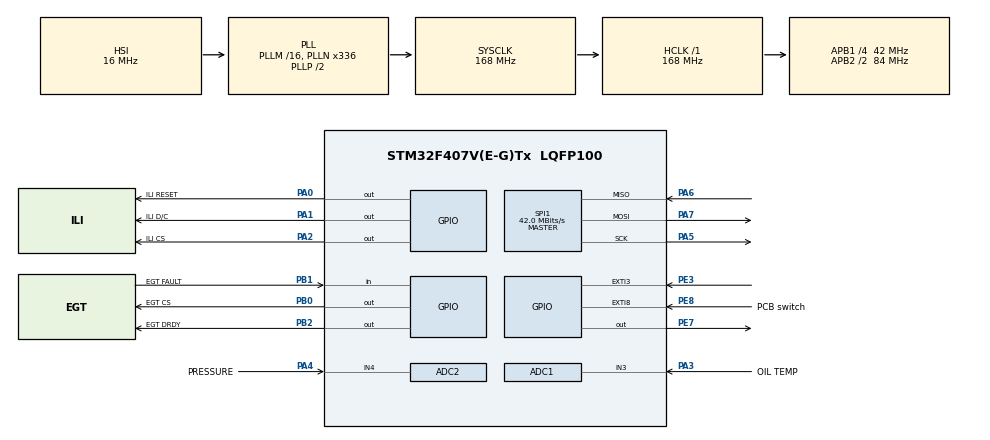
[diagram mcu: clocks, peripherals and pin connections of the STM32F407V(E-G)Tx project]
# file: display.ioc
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ADC1.Channel-0\#ChannelRegularConversion=ADC_CHANNEL_3
ADC1.ClockPrescaler=ADC_CLOCK_SYNC_PCLK_DIV4
ADC1.NbrOfConversionFlag=1
ADC1.Rank-0\#ChannelRegularConversion=1
ADC1.SamplingTime-0\#ChannelRegularConversion=ADC_SAMPLETIME_3CYCLES
ADC1.master=1
ADC2.Channel-0\#ChannelRegularConversion=ADC_CHANNEL_4
ADC2.ClockPrescaler=ADC_CLOCK_SYNC_PCLK_DIV4
ADC2.NbrOfConversionFlag=1
ADC2.Rank-0\#ChannelRegularConversion=1
ADC2.SamplingTime-0\#ChannelRegularConversion=ADC_SAMPLETIME_3CYCLES
Mcu.Family=STM32F4
Mcu.Name=STM32F407V(E-G)Tx
Mcu.Package=LQFP100
NVIC.EXTI3_IRQn=true\:0\:0\:false\:false\:true\:true\:true\:true
NVIC.EXTI9_5_IRQn=true\:0\:0\:false\:false\:true\:true\:true\:true
NVIC.PriorityGroup=NVIC_PRIORITYGROUP_4
PA0-WKUP.GPIO_Label=ILI RESET
PA0-WKUP.GPIO_Speed=GPIO_SPEED_FREQ_VERY_HIGH
PA0-WKUP.Signal=GPIO_Output
PA1.GPIO_Label=ILI D/C
PA1.GPIO_Speed=GPIO_SPEED_FREQ_VERY_HIGH
PA1.Signal=GPIO_Output
PA13.Mode=Serial_Wire
PA13.Signal=SYS_JTMS-SWDIO
PA14.Mode=Serial_Wire
PA14.Signal=SYS_JTCK-SWCLK
PA2.GPIO_Label=ILI CS
PA2.GPIO_Speed=GPIO_SPEED_FREQ_VERY_HIGH
PA2.Signal=GPIO_Output
PA3.GPIO_Label=OIL TEMP
PA3.Signal=ADCx_IN3
PA4.GPIO_Label=PRESSURE
PA4.Signal=ADCx_IN4
PA5.Mode=Full_Duplex_Master
PA5.Signal=SPI1_SCK
PA6.Mode=Full_Duplex_Master
PA6.Signal=SPI1_MISO
PA7.Mode=Full_Duplex_Master
PA7.Signal=SPI1_MOSI
PB0.GPIO_Label=EGT CS
PB0.GPIO_Speed=GPIO_SPEED_FREQ_HIGH
PB0.Signal=GPIO_Output
PB1.GPIO_Label=EGT FAULT
PB1.Signal=GPIO_Input
PB2.GPIO_Label=EGT DRDY
PB2.Signal=GPIO_Output
PE3.GPIO_ModeDefaultEXTI=GPIO_MODE_IT_FALLING
PE3.Signal=GPXTI3
PE7.Signal=GPIO_Output
PE8.GPIO_Label=PCB switch
PE8.GPIO_ModeDefaultEXTI=GPIO_MODE_IT_FALLING
PE8.Signal=GPXTI8
ProjectManager.HeapSize=0x200
ProjectManager.StackSize=0x400
ProjectManager.TargetToolchain=STM32CubeIDE
RCC.48MHZClocksFreq_Value=48000000
RCC.AHBFreq_Value=168000000
RCC.APB1CLKDivider=RCC_HCLK_DIV4
RCC.APB1Freq_Value=42000000
RCC.APB1TimFreq_Value=84000000
RCC.APB2CLKDivider=RCC_HCLK_DIV2
RCC.APB2Freq_Value=84000000
RCC.APB2TimFreq_Value=168000000
RCC.CortexFreq_Value=168000000
RCC.HCLKFreq_Value=168000000
RCC.HSE_VALUE=25000000
RCC.HSI_VALUE=16000000
RCC.LSE_VALUE=32768
RCC.PLLN=336
RCC.PLLQ=7
RCC.SYSCLKFreq_VALUE=168000000
RCC.SYSCLKSource=RCC_SYSCLKSOURCE_PLLCLK
RCC.VCOOutputFreq_Value=336000000
SH.ADCx_IN3.0=ADC1_IN3,IN3
SH.ADCx_IN4.0=ADC2_IN4,IN4
SPI1.BaudRatePrescaler=SPI_BAUDRATEPRESCALER_2
SPI1.CalculateBaudRate=42.0 MBits/s
SPI1.Direction=SPI_DIRECTION_2LINES
SPI1.Mode=SPI_MODE_MASTER
SPI1.VirtualType=VM_MASTER
board=custom

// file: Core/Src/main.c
/* USER CODE BEGIN Header */
/**
  ******************************************************************************
  * @file           : main.c
  * @brief          : Main program body
  ******************************************************************************
  * @attention
  *
  * Copyright (c) 2025 STMicroelectronics.
  * All rights reserved.
  *
  * This software is licensed under terms that can be found in the LICENSE file
  * in the root directory of this software component.
  * If no LICENSE file comes with this software, it is provided AS-IS.
  *
  ******************************************************************************
  */
/* USER CODE END Header */
#include "main.h"

/* USER CODE BEGIN Includes */
#include <string.h>
#include "GC9A01.h"
#include "lvgl.h"
#include "MAX31856.h"
/* USER CODE END Includes */

/* USER CODE BEGIN PTD */
float oilTemp, oilPress, egtTemp;
lv_obj_t *cont_multi;
lv_obj_t *cont_single;
volatile static DisplayState display_state = MULTI;
static DisplayState prev_state = -1;

volatile uint32_t debounce_tick = 0;

int _write(int file, char *ptr, int len)
{
    (void)file;
    for (int i = 0; i < len; i++) {
        ITM_SendChar((uint32_t)*ptr++);
    }
    return len;
}

static const TempPoint tempTable[] = {
    {20.0f, 2031.0f},
    {30.0f, 1286.0f},
    {40.0f, 843.9f},
    {50.0f, 569.9f},
    {60.0f, 388.0f},
    {70.0f, 277.8f},
    {80.0f, 200.0f},
    {90.0f, 146.7f},
    {100.0f, 108.0f},
    {110.0f, 82.7f},
    {120.0f, 63.5f},
    {130.0f, 49.3f},
    {140.0f, 38.9f},
    {150.0f, 30.4f},
    {160.0f, 24.4f},
    {170.0f, 19.8f},
};
static QuadGauge g_egt, g_oilT, g_oilP,g_single;
QuadGauge* g_curr = &g_oilP; // pointer to currently displayed gauge in single mode

static void ShowSingleGauge(QuadGauge *g);
static void Gauge_Switch(void);
/**
 *
 * @param min Value which arc is empty
 * @param max Value at which arc is full
 * @param title_dx Title x coordinate
 * @param title_dy Title y coordinate
 * @param value_dx Value x coordinate
 * @param value_dy value y coordinate
 */
static void Create_Gauge(lv_obj_t *parent, QuadGauge *g,
                          const char *title, lv_color_t color,
                          int32_t min, int32_t max,
                          uint16_t start_deg, uint16_t end_deg,
                          lv_coord_t title_dx, lv_coord_t title_dy,
                          lv_coord_t value_dx, lv_coord_t value_dy);
static void Gauge_Update(QuadGauge *g, float val, int32_t arc_val, const char *fmt, const char *title);

uint16_t ADC_ReadRaw(ADC_HandleTypeDef* hadc)
{
    HAL_ADC_Start(hadc);
    HAL_ADC_PollForConversion(hadc, HAL_MAX_DELAY);
    uint16_t value = HAL_ADC_GetValue(hadc);
    HAL_ADC_Stop(hadc);
    return value;  // 0..4095 for 12-bit
}

uint16_t ADC_ReadAvg(uint8_t samples,ADC_HandleTypeDef* hadc)
{
    uint32_t sum = 0;
    for (uint8_t i = 0; i < samples; i++) {
        sum += ADC_ReadRaw(hadc);
    }
    return (uint16_t)(sum / samples);
}

float ADC_To_Temperature(uint16_t adc)
{
	float Rs;
	if (adc==0){Rs = 1e9f;}
	Rs = 330.0f * ((4095.0f/(float)adc)-1.0f);      //4095 == 3.3v, Rs = (Vcc/Vout - 1)*Rref, Rref=330Ω
    int size = sizeof(tempTable)/sizeof(tempTable[0]);

    // Too cold (Rs higher than highest table value)
    if (Rs >= tempTable[0].resOhm)
        return tempTable[0].tempC;

    // Too hot (Rs lower than lowest table value)
    if (Rs <= tempTable[size - 1].resOhm)
        return tempTable[size - 1].tempC;

    // Find interval
    for (int i = 0; i < size - 1; i++) {
        float R1 = tempTable[i].resOhm;
        float R2 = tempTable[i+1].resOhm;
        if (Rs <= R1 && Rs >= R2) {
            float T1 = tempTable[i].tempC;
            float T2 = tempTable[i+1].tempC;

            float f = (Rs - R1) / (R2 - R1);   // linear interpolation
            return T1 + f * (T2 - T1);
        }
    }

    return -273.15f; // shouldn't happen
}

float ADC_ToBar(uint16_t adcv)
{
	float vsens = (3.3f * (float)adcv / 4095.0f)*1.5f; //0-3.3V becomes 0-4.95V, sensor output is 0.5..4.5V for 0..150psi, so multiply by 1.5 to scale 3.3V to 4.95V
    if (vsens < SENSOR_V_MIN) vsens = SENSOR_V_MIN;
    if (vsens > SENSOR_V_MAX) vsens = SENSOR_V_MAX;

    float fraction = (vsens - SENSOR_V_MIN) / (SENSOR_V_MAX - SENSOR_V_MIN);
    return fraction * PRESSURE_MAX_PSI * 0.0689476f;  // convert psi to bar (1 psi = 0.0689476 bar)
}

/* USER CODE END PTD */

/* USER CODE BEGIN PD */
#define DEBOUNCE_DELAY 50
/* USER CODE END PD */

ADC_HandleTypeDef hadc1;
ADC_HandleTypeDef hadc2;

SPI_HandleTypeDef hspi1;

void SystemClock_Config(void);
static void MX_GPIO_Init(void);
static void MX_SPI1_Init(void);
static void MX_ADC1_Init(void);
static void MX_ADC2_Init(void);

int main(void)
{

  /* USER CODE BEGIN 1 */
	  printf("Booting...\n");
  /* USER CODE END 1 */

  /* MCU Configuration--------------------------------------------------------*/

  /* Reset of all peripherals, Initializes the Flash interface and the Systick. */
  HAL_Init();

  /* Configure the system clock */
  SystemClock_Config();

  /* Initialize all configured peripherals */
  MX_GPIO_Init();
  MX_SPI1_Init();
  MX_ADC1_Init();
  MX_ADC2_Init();
  /* USER CODE BEGIN 2 */
  GC9A01_Init();

  lv_init();
  static uint16_t buf1[240 * 40];   // line buffer for 240px wide round display

  lv_display_t *disp = lv_display_create(240, 240);
  lv_display_set_flush_cb(disp, ILI_flush);
  lv_display_set_buffers(disp, buf1, NULL, sizeof(buf1),
                           LV_DISPLAY_RENDER_MODE_PARTIAL);
  lv_display_set_color_format(disp, LV_COLOR_FORMAT_RGB565_SWAPPED);

  lv_display_set_rotation(disp, LV_DISPLAY_ROTATION_180);

  lv_obj_t *scr = lv_display_get_screen_active(disp);
  lv_obj_set_style_bg_color(scr, lv_color_black(), 0);
  lv_obj_set_style_bg_opa(scr, LV_OPA_COVER, 0);
  cont_multi  = lv_obj_create(scr);
  cont_single = lv_obj_create(scr);
  lv_obj_remove_style_all(cont_multi);
  lv_obj_remove_style_all(cont_single);
  lv_obj_set_size(cont_multi,  LV_HOR_RES_MAX, LV_VER_RES_MAX);
  lv_obj_set_size(cont_single, LV_HOR_RES_MAX, LV_VER_RES_MAX);
  lv_obj_set_pos(cont_multi,  0, 0);
  lv_obj_set_pos(cont_single, 0, 0);
  lv_obj_add_flag(cont_single, LV_OBJ_FLAG_HIDDEN);  // hide at startup

  Create_Gauge(cont_multi, &g_egt,  "EGT",   lv_color_hex(0x005CF6),   0, 1300, 225, 315,    0, -60,   0, -40);
  Create_Gauge(cont_multi, &g_oilT, "OilT",  lv_color_hex(0x00B0FF),   0,  130, 315,  45,   40, -10,  40,  10);   // reverse sweep (NW→NE)
  Create_Gauge(cont_multi, &g_oilP, "OilP",  lv_color_hex(0xFFA658),   0,  80, 135, 225,  -40, -10, -40,  10);
  Create_Gauge(cont_single, &g_single, "OilP", lv_color_hex(0xFFA658),0,130,135,45,0,-20,0,10);

  g_oilP.danger = 70;
  g_egt.danger = 1000;

  lv_obj_set_size(g_single.arc, LV_HOR_RES_MAX-8, LV_VER_RES_MAX-8);  // near full-screen, leaves a small margin
  lv_obj_center(g_single.arc);
  lv_obj_set_style_arc_width(g_single.arc, 18, LV_PART_MAIN);
  lv_obj_set_style_arc_width(g_single.arc, 18, LV_PART_INDICATOR);
  lv_obj_set_style_text_font(g_single.title, &lv_font_montserrat_28, 0);
  lv_obj_set_style_text_font(g_single.value, &lv_font_montserrat_28, 0);

  lv_arc_set_mode(g_oilT.arc, LV_ARC_MODE_REVERSE);

  /* USER CODE END 2 */

  /* Infinite loop */
  /* USER CODE BEGIN WHILE */
  while (1)
  {
    uint8_t samples = 16;
		uint16_t temp_adc = ADC_ReadAvg(samples,&hadc1);
		uint16_t press_adc = ADC_ReadAvg(samples,&hadc2);
		oilTemp = ADC_To_Temperature(temp_adc);
		oilPress = ADC_ToBar(press_adc);
		egtTemp = MAX31856_ReadThermocoupleTemp();

		if(MAX31856_ReadFault() == 0xFF){
			Gauge_Update(&g_egt,  egtTemp,   (int32_t)egtTemp,         "%4.0f","EGT");
		}
		else{
			Gauge_Update(&g_egt,  0.0f,   (int32_t)egtTemp,         "FAULT","EGT");
		}

		Gauge_Update(&g_oilT, oilTemp,   (int32_t)oilTemp,         "%4.1f","OilT");
		Gauge_Update(&g_oilP, oilPress,  (int32_t)(oilPress * 10), "%4.1f","OilP");

    int32_t arc_val = (int32_t)g_curr->val;
    if (g_curr == &g_oilP) {
        arc_val = (int32_t)(g_curr->val * 10);
    }
    Gauge_Update(&g_single, g_curr->val, arc_val, "%4.1f", g_curr->title_str);

		Gauge_Switch();
		lv_timer_handler();
    /* USER CODE END WHILE */

  }
}

void SystemClock_Config(void)
{
  RCC_OscInitTypeDef RCC_OscInitStruct = {0};
  RCC_ClkInitTypeDef RCC_ClkInitStruct = {0};

  /** Configure the main internal regulator output voltage
  */
  __HAL_RCC_PWR_CLK_ENABLE();
  __HAL_PWR_VOLTAGESCALING_CONFIG(PWR_REGULATOR_VOLTAGE_SCALE1);

  /** Initializes the RCC Oscillators according to the specified parameters
  * in the RCC_OscInitTypeDef structure.
  */
  RCC_OscInitStruct.OscillatorType = RCC_OSCILLATORTYPE_HSI;
  RCC_OscInitStruct.HSIState = RCC_HSI_ON;
  RCC_OscInitStruct.HSICalibrationValue = RCC_HSICALIBRATION_DEFAULT;
  RCC_OscInitStruct.PLL.PLLState = RCC_PLL_ON;
  RCC_OscInitStruct.PLL.PLLSource = RCC_PLLSOURCE_HSI;
  RCC_OscInitStruct.PLL.PLLM = 16;
  RCC_OscInitStruct.PLL.PLLN = 336;
  RCC_OscInitStruct.PLL.PLLP = RCC_PLLP_DIV2;
  RCC_OscInitStruct.PLL.PLLQ = 7;
  if (HAL_RCC_OscConfig(&RCC_OscInitStruct) != HAL_OK)
  {
    Error_Handler();
  }

  /** Initializes the CPU, AHB and APB buses clocks
  */
  RCC_ClkInitStruct.ClockType = RCC_CLOCKTYPE_HCLK|RCC_CLOCKTYPE_SYSCLK
                              |RCC_CLOCKTYPE_PCLK1|RCC_CLOCKTYPE_PCLK2;
  RCC_ClkInitStruct.SYSCLKSource = RCC_SYSCLKSOURCE_PLLCLK;
  RCC_ClkInitStruct.AHBCLKDivider = RCC_SYSCLK_DIV1;
  RCC_ClkInitStruct.APB1CLKDivider = RCC_HCLK_DIV4;
  RCC_ClkInitStruct.APB2CLKDivider = RCC_HCLK_DIV2;

  if (HAL_RCC_ClockConfig(&RCC_ClkInitStruct, FLASH_LATENCY_5) != HAL_OK)
  {
    Error_Handler();
  }
}

static void MX_ADC1_Init(void)
{

  ADC_ChannelConfTypeDef sConfig = {0};

  /** Configure the global features of the ADC (Clock, Resolution, Data Alignment and number of conversion)
  */
  hadc1.Instance = ADC1;
  hadc1.Init.ClockPrescaler = ADC_CLOCK_SYNC_PCLK_DIV4;
  hadc1.Init.Resolution = ADC_RESOLUTION_12B;
  hadc1.Init.ScanConvMode = DISABLE;
  hadc1.Init.ContinuousConvMode = DISABLE;
  hadc1.Init.DiscontinuousConvMode = DISABLE;
  hadc1.Init.ExternalTrigConvEdge = ADC_EXTERNALTRIGCONVEDGE_NONE;
  hadc1.Init.ExternalTrigConv = ADC_SOFTWARE_START;
  hadc1.Init.DataAlign = ADC_DATAALIGN_RIGHT;
  hadc1.Init.NbrOfConversion = 1;
  hadc1.Init.DMAContinuousRequests = DISABLE;
  hadc1.Init.EOCSelection = ADC_EOC_SINGLE_CONV;
  if (HAL_ADC_Init(&hadc1) != HAL_OK)
  {
    Error_Handler();
  }

  /** Configure for the selected ADC regular channel its corresponding rank in the sequencer and its sample time.
  */
  sConfig.Channel = ADC_CHANNEL_3;
  sConfig.Rank = 1;
  sConfig.SamplingTime = ADC_SAMPLETIME_3CYCLES;
  if (HAL_ADC_ConfigChannel(&hadc1, &sConfig) != HAL_OK)
  {
    Error_Handler();
  }

}

static void MX_ADC2_Init(void)
{

  ADC_ChannelConfTypeDef sConfig = {0};

  /** Configure the global features of the ADC (Clock, Resolution, Data Alignment and number of conversion)
  */
  hadc2.Instance = ADC2;
  hadc2.Init.ClockPrescaler = ADC_CLOCK_SYNC_PCLK_DIV4;
  hadc2.Init.Resolution = ADC_RESOLUTION_12B;
  hadc2.Init.ScanConvMode = DISABLE;
  hadc2.Init.ContinuousConvMode = DISABLE;
  hadc2.Init.DiscontinuousConvMode = DISABLE;
  hadc2.Init.ExternalTrigConvEdge = ADC_EXTERNALTRIGCONVEDGE_NONE;
  hadc2.Init.ExternalTrigConv = ADC_SOFTWARE_START;
  hadc2.Init.DataAlign = ADC_DATAALIGN_RIGHT;
  hadc2.Init.NbrOfConversion = 1;
  hadc2.Init.DMAContinuousRequests = DISABLE;
  hadc2.Init.EOCSelection = ADC_EOC_SINGLE_CONV;
  if (HAL_ADC_Init(&hadc2) != HAL_OK)
  {
    Error_Handler();
  }

  /** Configure for the selected ADC regular channel its corresponding rank in the sequencer and its sample time.
  */
  sConfig.Channel = ADC_CHANNEL_4;
  sConfig.Rank = 1;
  sConfig.SamplingTime = ADC_SAMPLETIME_3CYCLES;
  if (HAL_ADC_ConfigChannel(&hadc2, &sConfig) != HAL_OK)
  {
    Error_Handler();
  }

}

static void MX_SPI1_Init(void)
{

  /* SPI1 parameter configuration*/
  hspi1.Instance = SPI1;
  hspi1.Init.Mode = SPI_MODE_MASTER;
  hspi1.Init.Direction = SPI_DIRECTION_2LINES;
  hspi1.Init.DataSize = SPI_DATASIZE_8BIT;
  hspi1.Init.CLKPolarity = SPI_POLARITY_LOW;
  hspi1.Init.CLKPhase = SPI_PHASE_1EDGE;
  hspi1.Init.NSS = SPI_NSS_SOFT;
  hspi1.Init.BaudRatePrescaler = SPI_BAUDRATEPRESCALER_2;
  hspi1.Init.FirstBit = SPI_FIRSTBIT_MSB;
  hspi1.Init.TIMode = SPI_TIMODE_DISABLE;
  hspi1.Init.CRCCalculation = SPI_CRCCALCULATION_DISABLE;
  hspi1.Init.CRCPolynomial = 10;
  if (HAL_SPI_Init(&hspi1) != HAL_OK)
  {
    Error_Handler();
  }

}

static void MX_GPIO_Init(void)
{
  GPIO_InitTypeDef GPIO_InitStruct = {0};

  /* GPIO Ports Clock Enable */
  __HAL_RCC_GPIOE_CLK_ENABLE();
  __HAL_RCC_GPIOA_CLK_ENABLE();
  __HAL_RCC_GPIOB_CLK_ENABLE();

  /*Configure GPIO pin Output Level */
  HAL_GPIO_WritePin(GPIOA, ILI_RESET_Pin|ILI_D_C_Pin|ILI_CS_Pin, GPIO_PIN_RESET);

  /*Configure GPIO pin Output Level */
  HAL_GPIO_WritePin(GPIOB, EGT_CS_Pin|EGT_DRDY_Pin, GPIO_PIN_RESET);

  /*Configure GPIO pin Output Level */
  HAL_GPIO_WritePin(GPIOE, GPIO_PIN_7, GPIO_PIN_RESET);

  /*Configure GPIO pins : PE3 PCB_switch_Pin */
  GPIO_InitStruct.Pin = GPIO_PIN_3|PCB_switch_Pin;
  GPIO_InitStruct.Mode = GPIO_MODE_IT_FALLING;
  GPIO_InitStruct.Pull = GPIO_NOPULL;
  HAL_GPIO_Init(GPIOE, &GPIO_InitStruct);

  /*Configure GPIO pins : ILI_RESET_Pin ILI_D_C_Pin ILI_CS_Pin */
  GPIO_InitStruct.Pin = ILI_RESET_Pin|ILI_D_C_Pin|ILI_CS_Pin;
  GPIO_InitStruct.Mode = GPIO_MODE_OUTPUT_PP;
  GPIO_InitStruct.Pull = GPIO_NOPULL;
  GPIO_InitStruct.Speed = GPIO_SPEED_FREQ_VERY_HIGH;
  HAL_GPIO_Init(GPIOA, &GPIO_InitStruct);

  /*Configure GPIO pin : EGT_CS_Pin */
  GPIO_InitStruct.Pin = EGT_CS_Pin;
  GPIO_InitStruct.Mode = GPIO_MODE_OUTPUT_PP;
  GPIO_InitStruct.Pull = GPIO_NOPULL;
  GPIO_InitStruct.Speed = GPIO_SPEED_FREQ_HIGH;
  HAL_GPIO_Init(EGT_CS_GPIO_Port, &GPIO_InitStruct);

  /*Configure GPIO pin : EGT_FAULT_Pin */
  GPIO_InitStruct.Pin = EGT_FAULT_Pin;
  GPIO_InitStruct.Mode = GPIO_MODE_INPUT;
  GPIO_InitStruct.Pull = GPIO_NOPULL;
  HAL_GPIO_Init(EGT_FAULT_GPIO_Port, &GPIO_InitStruct);

  /*Configure GPIO pin : EGT_DRDY_Pin */
  GPIO_InitStruct.Pin = EGT_DRDY_Pin;
  GPIO_InitStruct.Mode = GPIO_MODE_OUTPUT_PP;
  GPIO_InitStruct.Pull = GPIO_NOPULL;
  GPIO_InitStruct.Speed = GPIO_SPEED_FREQ_LOW;
  HAL_GPIO_Init(EGT_DRDY_GPIO_Port, &GPIO_InitStruct);

  /*Configure GPIO pin : PE7 */
  GPIO_InitStruct.Pin = GPIO_PIN_7;
  GPIO_InitStruct.Mode = GPIO_MODE_OUTPUT_PP;
  GPIO_InitStruct.Pull = GPIO_NOPULL;
  GPIO_InitStruct.Speed = GPIO_SPEED_FREQ_LOW;
  HAL_GPIO_Init(GPIOE, &GPIO_InitStruct);

  /* EXTI interrupt init*/
  HAL_NVIC_SetPriority(EXTI3_IRQn, 0, 0);
  HAL_NVIC_EnableIRQ(EXTI3_IRQn);

  HAL_NVIC_SetPriority(EXTI9_5_IRQn, 0, 0);
  HAL_NVIC_EnableIRQ(EXTI9_5_IRQn);

}

/* USER CODE BEGIN 4 */

void HAL_GPIO_EXTI_Callback(uint16_t GPIO_Pin)
{
    if (GPIO_Pin == GPIO_PIN_3) {
        if (HAL_GetTick() - debounce_tick < DEBOUNCE_DELAY)
          return;
        display_state++;
        if (display_state > EGT) display_state = 0;
        debounce_tick = HAL_GetTick();
    }
}

static void Create_Gauge(lv_obj_t *parent, QuadGauge *g,
                          const char *title, lv_color_t color,
                          int32_t min, int32_t max,
                          uint16_t start_deg, uint16_t end_deg,
                          lv_coord_t title_dx, lv_coord_t title_dy,
                          lv_coord_t value_dx, lv_coord_t value_dy)
{

    g->arc = lv_arc_create(parent);
    lv_obj_remove_style_all(g->arc);
    lv_obj_set_size(g->arc, 200, 200);
    lv_obj_center(g->arc);
    lv_arc_set_bg_angles(g->arc, start_deg, end_deg);
    lv_arc_set_range(g->arc, min, max);
    lv_arc_set_value(g->arc, min);
    lv_obj_set_style_arc_width(g->arc, 12, LV_PART_MAIN);
    lv_obj_set_style_arc_width(g->arc, 12, LV_PART_INDICATOR);
    lv_obj_set_style_arc_color(g->arc, lv_color_hex(0x303030), LV_PART_MAIN);
    lv_obj_set_style_arc_color(g->arc, color, LV_PART_INDICATOR);
    g->nom_color = color;
    g->danger = (int32_t)max*0.8f; // default danger threshold at 80% of max

    g->title = lv_label_create(parent);
    lv_label_set_text(g->title, title);
    lv_obj_set_style_text_color(g->title, color, 0);
    lv_obj_align(g->title, LV_ALIGN_CENTER, title_dx, title_dy);

    g->value = lv_label_create(parent);
    lv_label_set_text(g->value, "--");
    lv_obj_set_style_text_color(g->value, lv_color_white(), 0);
    lv_obj_align(g->value, LV_ALIGN_CENTER, value_dx, value_dy);
}
static void Gauge_Update(QuadGauge *g, float val, int32_t arc_val, const char *fmt, const char *title)
{
    char buf[16];
    snprintf(buf, sizeof(buf), fmt, val);
    lv_label_set_text(g->value, buf);
    g->val = val;
    g->title_str = title;

    printf("%s: %ld\n", title, arc_val);

    // In single gauge mode, set correct range (scaling already applied at call site)
    switch(display_state) {
      case MULTI:
          break;
      case OILP:
          lv_arc_set_range(g->arc, 0, g_oilP.danger);
          lv_obj_set_style_text_color(g->value, g_oilP.nom_color, 0);
          lv_obj_set_style_arc_color(g->arc, g_oilP.nom_color, LV_PART_INDICATOR);
          break;
      case OILT:
          lv_arc_set_range(g->arc, 0, g_oilT.danger);
           lv_obj_set_style_text_color(g->value, g_oilT.nom_color, 0);
          lv_obj_set_style_arc_color(g->arc, g_oilT.nom_color, LV_PART_INDICATOR);
          break;
      case EGT:
          lv_arc_set_range(g->arc, 0, g_egt.danger);
          lv_obj_set_style_text_color(g->value, g_egt.nom_color, 0);
          lv_obj_set_style_arc_color(g->arc, g_egt.nom_color, LV_PART_INDICATOR);
          break;
      default:
          break;
    }
    lv_arc_set_value(g->arc, arc_val);
    if (arc_val > g->danger) {
        lv_obj_set_style_text_color(g->value, lv_color_hex(0x0000FF), 0);
        lv_obj_set_style_arc_color(g->arc, lv_color_hex(0x0000FF), LV_PART_INDICATOR);
    } else {
        lv_obj_set_style_text_color(g->value, g->nom_color, 0);
        lv_obj_set_style_arc_color(g->arc, g->nom_color, LV_PART_INDICATOR);
    }
}

static void Gauge_Switch(void){
	if (display_state == prev_state) return;
	    prev_state = display_state;
	switch(display_state) {
	case MULTI:
		lv_obj_clear_flag(cont_multi, LV_OBJ_FLAG_HIDDEN);
		lv_obj_add_flag(cont_single, LV_OBJ_FLAG_HIDDEN);
		break;
	case OILP:
		ShowSingleGauge(&g_oilP);
		break;
	case OILT:
		ShowSingleGauge(&g_oilT);
		break;
	case EGT:
		ShowSingleGauge(&g_egt);
		break;
  default:
    break;
	}
}
static void ShowSingleGauge(QuadGauge *g)
{
    lv_obj_add_flag(cont_multi, LV_OBJ_FLAG_HIDDEN);
    lv_obj_clear_flag(cont_single, LV_OBJ_FLAG_HIDDEN);
    g_curr = g; // update pointer to currently displayed gauge

    // Copy danger threshold from the active gauge
    g_single.danger = g->danger;

    lv_label_set_text(g_single.title, g->title_str);
}
/* USER CODE END 4 */

void Error_Handler(void)
{
  __disable_irq();
  while (1)
  {
  }
}
